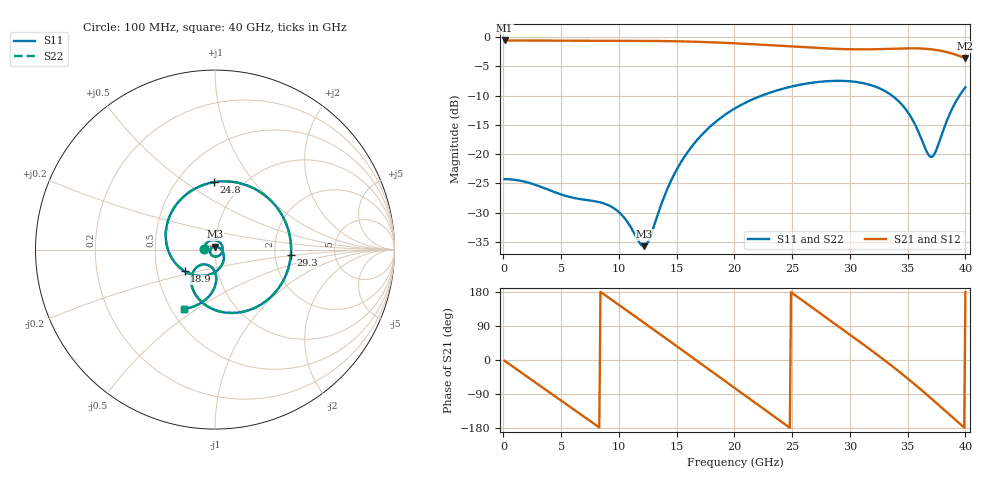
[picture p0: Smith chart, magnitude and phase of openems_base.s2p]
! C_s8_mixed: L1→L8, antipad Ø1.2 on L2/L7, Ø0.8 on L4/L5
! stackup: 8-layer 1.6 mm FR-4 (generic)
! ports: 1, 2
! openEMS 0.37.0, staircase, base mesh (dfine 0.035 mm), 663585 cells
# Hz S RI R 50
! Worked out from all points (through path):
!   400 points, 100 MHz to 40 GHz, reference 50 ohm
!   highest |S21| = -0.55 dB at 100 MHz (marker M1); lowest = -3.6 dB at 40 GHz (marker M2)
!   group delay of S21, straight-line fit = 61.6 ps
!   lowest |S11| = -35.7 dB at 12.2 GHz (marker M3), VSWR 1.03, Z = 49.9 + j1.63 ohm
!   |S11| at or under -10 dB: start of sweep to 22.34 GHz; 33.66 GHz to 39.48 GHz (5.816 GHz wide, 15.9 % of centre)
!   |S22| runs from -35.7 to -7.5 dB; largest |S21 - S12| = 9e-06
!   S11 on the Smith chart (normalised r, x): 100 MHz: 0.88, +0.01; 18.9 GHz: 0.69, -0.17; 24.8 GHz: 0.75, +0.65; 29.3 GHz: 2.46, -0.17; 40 GHz: 0.58, -0.45
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1e8  -0.0612 0.00292  0.9378 -0.0352  0.9378 -0.0352  -0.0612 0.00292
1.7e9  -0.04 0.0429  0.7538 -0.5578  0.7538 -0.5578  -0.04 0.0429
3.6e9  0.0121 0.0496  0.2065 -0.9128  0.2065 -0.9128  0.0121 0.0495
5.1e9  0.0403 0.0198  -0.3103 -0.881  -0.3103 -0.881  0.0403 0.0198
6.8e9  0.0339 -0.0233  -0.7714 -0.5236  -0.7714 -0.5236  0.0339 -0.0233
9.3e9  -0.0182 -0.0308  -0.8777 0.3113  -0.8777 0.3113  -0.0182 -0.0308
1.22e10  -0.000966 0.0163  -0.1248 0.9219  -0.1248 0.9219  -0.000967 0.0163
1.34e10  0.0311 0.00428  0.2939 0.8807  0.2939 0.8807  0.0311 0.00427
1.62e10  0.0176 -0.1113  0.9032 0.162  0.9032 0.162  0.0177 -0.1113
1.89e10  -0.1688 -0.1207  0.5864 -0.6797  0.5864 -0.6797  -0.1688 -0.1207
2.01e10  -0.2451 -0.0399  0.2204 -0.8588  0.2204 -0.8588  -0.2451 -0.0399
2.22e10  -0.2551 0.1805  -0.4557 -0.7352  -0.4557 -0.7352  -0.2551 0.1805
2.48e10  -0.00505 0.3758  -0.8354 -0.0154  -0.8354 -0.0154  -0.00505 0.3758
2.67e10  0.2554 0.3182  -0.618 0.5303  -0.618 0.5303  0.2554 0.3182
2.93e10  0.4227 -0.0282  0.1054 0.7853  0.1054 0.7853  0.4227 -0.0282
3.16e10  0.2339 -0.3184  0.6733 0.4092  0.6733 0.4092  0.2339 -0.3184
3.34e10  -0.0169 -0.3294  0.7834 -0.1397  0.7834 -0.1397  -0.0169 -0.3294
3.53e10  -0.1316 -0.1592  0.4453 -0.6696  0.4453 -0.6696  -0.1316 -0.1592
3.67e10  -0.0615 -0.0826  -0.0351 -0.7941  -0.0351 -0.7941  -0.0615 -0.0826
3.73e10  -0.0203 -0.0977  -0.2482 -0.7425  -0.2482 -0.7425  -0.0203 -0.0977
3.85e10  -0.000303 -0.2048  -0.5746 -0.4686  -0.5746 -0.4686  -0.000307 -0.2048
4e10  -0.1722 -0.331  -0.6608 0.011  -0.6608 0.011  -0.1722 -0.331
